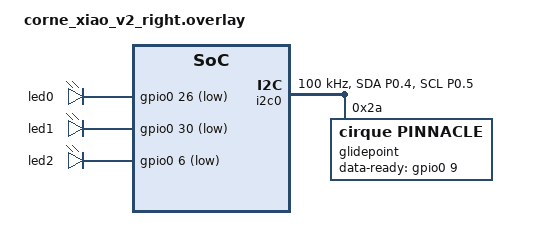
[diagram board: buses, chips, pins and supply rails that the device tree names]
#include "corne_xiao_v2.dtsi"

&default_transform {
    col-offset = <6>;
};

&five_column_transform {
    col-offset = <6>;
};

&kscan0 {
    col-gpios
        = <&xiao_d 6 GPIO_ACTIVE_HIGH>
        , <&xiao_d 7 GPIO_ACTIVE_HIGH> 
        , <&xiao_d 8 GPIO_ACTIVE_HIGH>
        , <&xiao_d 10 GPIO_ACTIVE_HIGH>
        , <&xiao_d 3 GPIO_ACTIVE_HIGH>
        , <&gpio0 10 GPIO_ACTIVE_HIGH>
        ;
};

/ {
    aliases {
        led-red = &led0;
        led-green = &led1;
        led-blue = &led2;
    };

    leds {
        compatible = "gpio-leds";
        status = "okay";
        led0: led_0 {
            gpios = <&gpio0 26 GPIO_ACTIVE_LOW>;  // red LED, connected to P0.26
        };
        led1: led_1 {
            gpios = <&gpio0 30 GPIO_ACTIVE_LOW>;  // green LED, connected to P0.30
        };
        led2: led_2 {
            gpios = <&gpio0 6 GPIO_ACTIVE_LOW>;  // blue LED, connected to P0.06
        };
    };
};

// ======== i2c0 pin control ========
// D4   = P0.04 = SDA
// D5   = P0.05 = SCL
// NFC1 = P0.09 = DR

&pinctrl {
    i2c0_default: i2c0_default {
        group1 {
            psels = <NRF_PSEL(TWIM_SDA, 0, 4)>,
                    <NRF_PSEL(TWIM_SCL, 0, 5)>;
        };
    };
    i2c0_sleep: i2c0_sleep {
        group1 {
            psels = <NRF_PSEL(TWIM_SDA, 0, 4)>,
                    <NRF_PSEL(TWIM_SCL, 0, 5)>;
            low-power-enable;
        };
    };
};

&i2c0 {
    compatible = "nordic,nrf-twim";
    status = "okay";
    pinctrl-0 = <&i2c0_default>;
    pinctrl-1 = <&i2c0_sleep>;
    pinctrl-names = "default", "sleep";
    clock-frequency = <I2C_BITRATE_STANDARD>;

    glidepoint: glidepoint@2a {
        status = "okay";
        compatible = "cirque,pinnacle";
        reg = <0x2A>;
        data-ready-gpios = <&gpio0 9 (GPIO_ACTIVE_HIGH)>;
        sensitivity = "2x";
        primary-tap-enable;
    };
};

// Enable input split so this half sends trackpad events to central
&glidepoint_split {
    device = <&glidepoint>;
};
